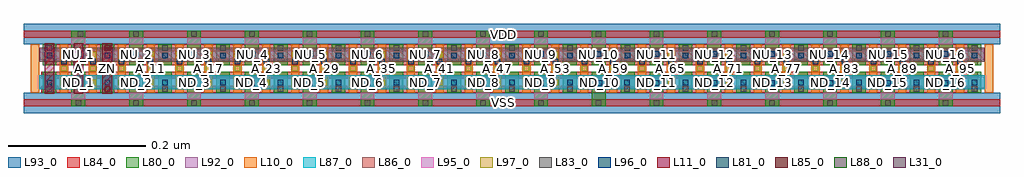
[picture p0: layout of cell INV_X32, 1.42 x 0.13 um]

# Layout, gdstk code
import gdstk
lib = gdstk.Library(unit=1e-6, precision=1e-09)
def R(c, l, rs):  # rectangles x0, y0, x1, y1
    for r in rs: c.add(gdstk.rectangle(r[:2], r[2:], *l))
def A(c, l, x, y, w, h, nx, ny, dx, dy):  # array of equal rectangles
    R(c, l, [(x+i*dx, y+j*dy, x+i*dx+w, y+j*dy+h) for i in range(nx) for j in range(ny)])
L10_0 = (10, 0)
L11_0 = (11, 0)
L31_0 = (31, 0)
L80_0 = (80, 0)
L81_0 = (81, 0)
L83_0 = (83, 0)
L84_0 = (84, 0)
L85_0 = (85, 0)
L86_0 = (86, 0)
L87_0 = (87, 0)
L88_0 = (88, 0)
L92_0 = (92, 0)
L93_0 = (93, 0)
L95_0 = (95, 0)
L96_0 = (96, 0)
L97_0 = (97, 0)

inv_x32 = lib.new_cell('INV_X32')
A(inv_x32, L10_0, 0.021, 0.07, 0.012, 0.07, 34, 1, 0.042, 0)
A(inv_x32, L11_0, 0.041, 0.068, 0.014, 0.074, 3, 1, 0.042, 0)
R(inv_x32, L31_0, [(0.086,0.101,0.094,0.109), (0.128,0.101,0.136,0.109)])
A(inv_x32, L80_0, 0.08, 0.05, 0.02, 0.05, 16, 2, 0.084, 0.06)
A(inv_x32, L80_0, 0.038, 0.07, 0.02, 0.03, 17, 2, 0.084, 0.04)
A(inv_x32, L81_0, 0.065, 0.111, 0.008, 0.008, 32, 1, 0.042, 0)
A(inv_x32, L83_0, 0.086, 0.051, 0.008, 0.008, 16, 1, 0.084, 0)
A(inv_x32, L83_0, 0.044, 0.071, 0.008, 0.008, 10, 1, 0.084, 0)
A(inv_x32, L83_0, 0.968, 0.071, 0.008, 0.008, 6, 1, 0.084, 0)
A(inv_x32, L83_0, 0.044, 0.131, 0.008, 0.008, 17, 1, 0.084, 0)
A(inv_x32, L83_0, 0.17, 0.151, 0.008, 0.008, 15, 1, 0.084, 0)
R(inv_x32, L83_0, [(0.883,0.071,0.891,0.079), (0.089,0.151,0.097,0.159)])
R(inv_x32, L84_0, [(0.011,0.05,1.429,0.06), (0.036,0.07,1.397,0.08), (0.036,0.09,1.397,0.1), (0.043,0.11,1.397,0.12), (0.043,0.13,1.397,0.14), (0.011,0.15,1.429,0.16)])
R(inv_x32, L85_0, [(0.128,0.071,0.136,0.079), (0.086,0.111,0.094,0.119), (0.128,0.131,0.136,0.139)])
R(inv_x32, L86_0, [(0.033,0.115,1.407,0.135)])
R(inv_x32, L87_0, [(0.033,0.075,1.407,0.095)])
R(inv_x32, L88_0, [(0.704,0.051,0.712,0.059), (0.704,0.151,0.712,0.159)])
R(inv_x32, L92_0, [(0.034,0.077,1.406,0.093), (0.034,0.117,1.406,0.133)])
R(inv_x32, L93_0, [(0.011,0.04,1.429,0.07), (0.011,0.14,1.429,0.17)])
A(inv_x32, L95_0, 0.08, 0.06, 0.02, 0.01, 9, 1, 0.084, 0)
A(inv_x32, L95_0, 0.92, 0.06, 0.02, 0.01, 6, 1, 0.084, 0)
A(inv_x32, L95_0, 0.08, 0.14, 0.02, 0.01, 16, 1, 0.084, 0)
A(inv_x32, L96_0, 0.254, 0.08, 0.008, 0.008, 7, 1, 0.084, 0)
A(inv_x32, L96_0, 0.926, 0.08, 0.008, 0.008, 3, 1, 0.084, 0)
A(inv_x32, L96_0, 0.044, 0.081, 0.008, 0.008, 10, 1, 0.084, 0)
A(inv_x32, L96_0, 0.968, 0.081, 0.008, 0.008, 6, 1, 0.084, 0)
A(inv_x32, L96_0, 0.044, 0.12, 0.008, 0.008, 17, 1, 0.084, 0)
A(inv_x32, L96_0, 0.086, 0.122, 0.008, 0.008, 3, 1, 0.084, 0)
A(inv_x32, L96_0, 0.506, 0.122, 0.008, 0.008, 9, 1, 0.084, 0)
R(inv_x32, L96_0, [(0.086,0.08,0.094,0.088), (0.171,0.08,0.179,0.088), (0.843,0.08,0.851,0.088), (1.179,0.08,1.187,0.088), (1.262,0.08,1.27,0.088), (1.346,0.08,1.354,0.088), (0.883,0.081,0.891,0.089), (0.339,0.122,0.347,0.13), (0.423,0.122,0.431,0.13), (1.263,0.122,1.271,0.13), (1.346,0.122,1.354,0.13)])
A(inv_x32, L97_0, 0.065, 0.081, 0.008, 0.008, 32, 3, 0.042, 0.02)
inv_x32.add(gdstk.Label('VSS', (0.708,0.055), layer=88, texttype=0))
inv_x32.add(gdstk.Label('VDD', (0.708,0.155), layer=88, texttype=0))
inv_x32.add(gdstk.Label('A', (0.09,0.105), layer=31, texttype=0))
inv_x32.add(gdstk.Label('ZN', (0.132,0.105), layer=31, texttype=0))
inv_x32.add(gdstk.Label('NU_1', (0.09,0.126), layer=96, texttype=0))
inv_x32.add(gdstk.Label('NU_2', (0.174,0.126), layer=96, texttype=0))
inv_x32.add(gdstk.Label('NU_3', (0.258,0.126), layer=96, texttype=0))
inv_x32.add(gdstk.Label('NU_4', (0.343,0.126), layer=96, texttype=0))
inv_x32.add(gdstk.Label('NU_5', (0.427,0.126), layer=96, texttype=0))
inv_x32.add(gdstk.Label('NU_6', (0.51,0.126), layer=96, texttype=0))
inv_x32.add(gdstk.Label('NU_7', (0.594,0.126), layer=96, texttype=0))
inv_x32.add(gdstk.Label('NU_8', (0.678,0.126), layer=96, texttype=0))
inv_x32.add(gdstk.Label('NU_9', (0.762,0.126), layer=96, texttype=0))
inv_x32.add(gdstk.Label('NU_10', (0.846,0.126), layer=96, texttype=0))
inv_x32.add(gdstk.Label('NU_11', (0.93,0.126), layer=96, texttype=0))
inv_x32.add(gdstk.Label('NU_12', (1.014,0.126), layer=96, texttype=0))
inv_x32.add(gdstk.Label('NU_13', (1.098,0.126), layer=96, texttype=0))
inv_x32.add(gdstk.Label('NU_14', (1.182,0.126), layer=96, texttype=0))
inv_x32.add(gdstk.Label('NU_15', (1.267,0.126), layer=96, texttype=0))
inv_x32.add(gdstk.Label('NU_16', (1.35,0.126), layer=96, texttype=0))
inv_x32.add(gdstk.Label('ND_1', (0.09,0.084), layer=96, texttype=0))
inv_x32.add(gdstk.Label('ND_2', (0.175,0.084), layer=96, texttype=0))
inv_x32.add(gdstk.Label('ND_3', (0.258,0.084), layer=96, texttype=0))
inv_x32.add(gdstk.Label('ND_4', (0.342,0.084), layer=96, texttype=0))
inv_x32.add(gdstk.Label('ND_5', (0.426,0.084), layer=96, texttype=0))
inv_x32.add(gdstk.Label('ND_6', (0.51,0.084), layer=96, texttype=0))
inv_x32.add(gdstk.Label('ND_7', (0.594,0.084), layer=96, texttype=0))
inv_x32.add(gdstk.Label('ND_8', (0.678,0.084), layer=96, texttype=0))
inv_x32.add(gdstk.Label('ND_9', (0.762,0.084), layer=96, texttype=0))
inv_x32.add(gdstk.Label('ND_10', (0.847,0.084), layer=96, texttype=0))
inv_x32.add(gdstk.Label('ND_11', (0.93,0.084), layer=96, texttype=0))
inv_x32.add(gdstk.Label('ND_12', (1.014,0.084), layer=96, texttype=0))
inv_x32.add(gdstk.Label('ND_13', (1.098,0.084), layer=96, texttype=0))
inv_x32.add(gdstk.Label('ND_14', (1.183,0.084), layer=96, texttype=0))
inv_x32.add(gdstk.Label('ND_15', (1.266,0.084), layer=96, texttype=0))
inv_x32.add(gdstk.Label('ND_16', (1.35,0.084), layer=96, texttype=0))
inv_x32.add(gdstk.Label('ZN_1', (0.048,0.124), layer=96, texttype=0))
inv_x32.add(gdstk.Label('ZN_3', (0.132,0.124), layer=96, texttype=0))
inv_x32.add(gdstk.Label('ZN_5', (0.216,0.124), layer=96, texttype=0))
inv_x32.add(gdstk.Label('ZN_7', (0.3,0.124), layer=96, texttype=0))
inv_x32.add(gdstk.Label('ZN_9', (0.384,0.124), layer=96, texttype=0))
inv_x32.add(gdstk.Label('ZN_11', (0.468,0.124), layer=96, texttype=0))
inv_x32.add(gdstk.Label('ZN_13', (0.552,0.124), layer=96, texttype=0))
inv_x32.add(gdstk.Label('ZN_15', (0.636,0.124), layer=96, texttype=0))
inv_x32.add(gdstk.Label('ZN_17', (0.72,0.124), layer=96, texttype=0))
inv_x32.add(gdstk.Label('ZN_19', (0.804,0.124), layer=96, texttype=0))
inv_x32.add(gdstk.Label('ZN_21', (0.888,0.124), layer=96, texttype=0))
inv_x32.add(gdstk.Label('ZN_23', (0.972,0.124), layer=96, texttype=0))
inv_x32.add(gdstk.Label('ZN_25', (1.056,0.124), layer=96, texttype=0))
inv_x32.add(gdstk.Label('ZN_27', (1.14,0.124), layer=96, texttype=0))
inv_x32.add(gdstk.Label('ZN_29', (1.224,0.124), layer=96, texttype=0))
inv_x32.add(gdstk.Label('ZN_31', (1.308,0.124), layer=96, texttype=0))
inv_x32.add(gdstk.Label('ZN_33', (1.392,0.124), layer=96, texttype=0))
inv_x32.add(gdstk.Label('ZN_34', (1.392,0.085), layer=96, texttype=0))
inv_x32.add(gdstk.Label('ZN_32', (1.308,0.085), layer=96, texttype=0))
inv_x32.add(gdstk.Label('ZN_30', (1.224,0.085), layer=96, texttype=0))
inv_x32.add(gdstk.Label('ZN_28', (1.14,0.085), layer=96, texttype=0))
inv_x32.add(gdstk.Label('ZN_26', (1.056,0.085), layer=96, texttype=0))
inv_x32.add(gdstk.Label('ZN_24', (0.972,0.085), layer=96, texttype=0))
inv_x32.add(gdstk.Label('ZN_22', (0.887,0.085), layer=96, texttype=0))
inv_x32.add(gdstk.Label('ZN_20', (0.804,0.085), layer=96, texttype=0))
inv_x32.add(gdstk.Label('ZN_18', (0.72,0.085), layer=96, texttype=0))
inv_x32.add(gdstk.Label('ZN_16', (0.636,0.085), layer=96, texttype=0))
inv_x32.add(gdstk.Label('ZN_14', (0.552,0.085), layer=96, texttype=0))
inv_x32.add(gdstk.Label('ZN_12', (0.468,0.085), layer=96, texttype=0))
inv_x32.add(gdstk.Label('ZN_10', (0.384,0.085), layer=96, texttype=0))
inv_x32.add(gdstk.Label('ZN_8', (0.3,0.085), layer=96, texttype=0))
inv_x32.add(gdstk.Label('ZN_6', (0.216,0.085), layer=96, texttype=0))
inv_x32.add(gdstk.Label('ZN_4', (0.132,0.085), layer=96, texttype=0))
inv_x32.add(gdstk.Label('ZN_2', (0.048,0.085), layer=96, texttype=0))
inv_x32.add(gdstk.Label('A_3', (0.069,0.085), layer=97, texttype=0))
inv_x32.add(gdstk.Label('A_2', (0.069,0.105), layer=97, texttype=0))
inv_x32.add(gdstk.Label('A_1', (0.069,0.125), layer=97, texttype=0))
inv_x32.add(gdstk.Label('A_6', (0.111,0.085), layer=97, texttype=0))
inv_x32.add(gdstk.Label('A_4', (0.111,0.125), layer=97, texttype=0))
inv_x32.add(gdstk.Label('A_5', (0.111,0.105), layer=97, texttype=0))
inv_x32.add(gdstk.Label('A_7', (0.153,0.125), layer=97, texttype=0))
inv_x32.add(gdstk.Label('A_8', (0.153,0.105), layer=97, texttype=0))
inv_x32.add(gdstk.Label('A_9', (0.153,0.085), layer=97, texttype=0))
inv_x32.add(gdstk.Label('A_11', (0.195,0.105), layer=97, texttype=0))
inv_x32.add(gdstk.Label('A_10', (0.195,0.125), layer=97, texttype=0))
inv_x32.add(gdstk.Label('A_12', (0.195,0.085), layer=97, texttype=0))
inv_x32.add(gdstk.Label('A_15', (0.237,0.085), layer=97, texttype=0))
inv_x32.add(gdstk.Label('A_14', (0.237,0.105), layer=97, texttype=0))
inv_x32.add(gdstk.Label('A_13', (0.237,0.125), layer=97, texttype=0))
inv_x32.add(gdstk.Label('A_18', (0.279,0.085), layer=97, texttype=0))
inv_x32.add(gdstk.Label('A_16', (0.279,0.125), layer=97, texttype=0))
inv_x32.add(gdstk.Label('A_17', (0.279,0.105), layer=97, texttype=0))
inv_x32.add(gdstk.Label('A_19', (0.321,0.125), layer=97, texttype=0))
inv_x32.add(gdstk.Label('A_20', (0.321,0.105), layer=97, texttype=0))
inv_x32.add(gdstk.Label('A_21', (0.321,0.085), layer=97, texttype=0))
inv_x32.add(gdstk.Label('A_23', (0.363,0.105), layer=97, texttype=0))
inv_x32.add(gdstk.Label('A_22', (0.363,0.125), layer=97, texttype=0))
inv_x32.add(gdstk.Label('A_24', (0.363,0.085), layer=97, texttype=0))
inv_x32.add(gdstk.Label('A_27', (0.405,0.085), layer=97, texttype=0))
inv_x32.add(gdstk.Label('A_26', (0.405,0.105), layer=97, texttype=0))
inv_x32.add(gdstk.Label('A_25', (0.405,0.125), layer=97, texttype=0))
inv_x32.add(gdstk.Label('A_30', (0.447,0.085), layer=97, texttype=0))
inv_x32.add(gdstk.Label('A_28', (0.447,0.125), layer=97, texttype=0))
inv_x32.add(gdstk.Label('A_29', (0.447,0.105), layer=97, texttype=0))
inv_x32.add(gdstk.Label('A_31', (0.489,0.125), layer=97, texttype=0))
inv_x32.add(gdstk.Label('A_32', (0.489,0.105), layer=97, texttype=0))
inv_x32.add(gdstk.Label('A_33', (0.489,0.085), layer=97, texttype=0))
inv_x32.add(gdstk.Label('A_35', (0.531,0.105), layer=97, texttype=0))
inv_x32.add(gdstk.Label('A_34', (0.531,0.125), layer=97, texttype=0))
inv_x32.add(gdstk.Label('A_36', (0.531,0.085), layer=97, texttype=0))
inv_x32.add(gdstk.Label('A_39', (0.573,0.085), layer=97, texttype=0))
inv_x32.add(gdstk.Label('A_38', (0.573,0.105), layer=97, texttype=0))
inv_x32.add(gdstk.Label('A_37', (0.573,0.125), layer=97, texttype=0))
inv_x32.add(gdstk.Label('A_42', (0.615,0.085), layer=97, texttype=0))
inv_x32.add(gdstk.Label('A_40', (0.615,0.125), layer=97, texttype=0))
inv_x32.add(gdstk.Label('A_41', (0.615,0.105), layer=97, texttype=0))
inv_x32.add(gdstk.Label('A_43', (0.657,0.125), layer=97, texttype=0))
inv_x32.add(gdstk.Label('A_44', (0.657,0.105), layer=97, texttype=0))
inv_x32.add(gdstk.Label('A_45', (0.657,0.085), layer=97, texttype=0))
inv_x32.add(gdstk.Label('A_47', (0.699,0.105), layer=97, texttype=0))
inv_x32.add(gdstk.Label('A_46', (0.699,0.125), layer=97, texttype=0))
inv_x32.add(gdstk.Label('A_48', (0.699,0.085), layer=97, texttype=0))
inv_x32.add(gdstk.Label('A_51', (0.741,0.085), layer=97, texttype=0))
inv_x32.add(gdstk.Label('A_50', (0.741,0.105), layer=97, texttype=0))
inv_x32.add(gdstk.Label('A_49', (0.741,0.125), layer=97, texttype=0))
inv_x32.add(gdstk.Label('A_54', (0.783,0.085), layer=97, texttype=0))
inv_x32.add(gdstk.Label('A_52', (0.783,0.125), layer=97, texttype=0))
inv_x32.add(gdstk.Label('A_53', (0.783,0.105), layer=97, texttype=0))
inv_x32.add(gdstk.Label('A_55', (0.825,0.125), layer=97, texttype=0))
inv_x32.add(gdstk.Label('A_56', (0.825,0.105), layer=97, texttype=0))
inv_x32.add(gdstk.Label('A_57', (0.825,0.085), layer=97, texttype=0))
inv_x32.add(gdstk.Label('A_59', (0.867,0.105), layer=97, texttype=0))
inv_x32.add(gdstk.Label('A_58', (0.867,0.125), layer=97, texttype=0))
inv_x32.add(gdstk.Label('A_60', (0.867,0.085), layer=97, texttype=0))
inv_x32.add(gdstk.Label('A_63', (0.909,0.085), layer=97, texttype=0))
inv_x32.add(gdstk.Label('A_62', (0.909,0.105), layer=97, texttype=0))
inv_x32.add(gdstk.Label('A_61', (0.909,0.125), layer=97, texttype=0))
inv_x32.add(gdstk.Label('A_66', (0.951,0.085), layer=97, texttype=0))
inv_x32.add(gdstk.Label('A_64', (0.951,0.125), layer=97, texttype=0))
inv_x32.add(gdstk.Label('A_65', (0.951,0.105), layer=97, texttype=0))
inv_x32.add(gdstk.Label('A_67', (0.993,0.125), layer=97, texttype=0))
inv_x32.add(gdstk.Label('A_68', (0.993,0.105), layer=97, texttype=0))
inv_x32.add(gdstk.Label('A_69', (0.993,0.085), layer=97, texttype=0))
inv_x32.add(gdstk.Label('A_71', (1.035,0.105), layer=97, texttype=0))
inv_x32.add(gdstk.Label('A_70', (1.035,0.125), layer=97, texttype=0))
inv_x32.add(gdstk.Label('A_72', (1.035,0.085), layer=97, texttype=0))
inv_x32.add(gdstk.Label('A_75', (1.077,0.085), layer=97, texttype=0))
inv_x32.add(gdstk.Label('A_74', (1.077,0.105), layer=97, texttype=0))
inv_x32.add(gdstk.Label('A_73', (1.077,0.125), layer=97, texttype=0))
inv_x32.add(gdstk.Label('A_78', (1.119,0.085), layer=97, texttype=0))
inv_x32.add(gdstk.Label('A_76', (1.119,0.125), layer=97, texttype=0))
inv_x32.add(gdstk.Label('A_77', (1.119,0.105), layer=97, texttype=0))
inv_x32.add(gdstk.Label('A_79', (1.161,0.125), layer=97, texttype=0))
inv_x32.add(gdstk.Label('A_80', (1.161,0.105), layer=97, texttype=0))
inv_x32.add(gdstk.Label('A_81', (1.161,0.085), layer=97, texttype=0))
inv_x32.add(gdstk.Label('A_83', (1.203,0.105), layer=97, texttype=0))
inv_x32.add(gdstk.Label('A_82', (1.203,0.125), layer=97, texttype=0))
inv_x32.add(gdstk.Label('A_84', (1.203,0.085), layer=97, texttype=0))
inv_x32.add(gdstk.Label('A_87', (1.245,0.085), layer=97, texttype=0))
inv_x32.add(gdstk.Label('A_86', (1.245,0.105), layer=97, texttype=0))
inv_x32.add(gdstk.Label('A_85', (1.245,0.125), layer=97, texttype=0))
inv_x32.add(gdstk.Label('A_90', (1.287,0.085), layer=97, texttype=0))
inv_x32.add(gdstk.Label('A_88', (1.287,0.125), layer=97, texttype=0))
inv_x32.add(gdstk.Label('A_89', (1.287,0.105), layer=97, texttype=0))
inv_x32.add(gdstk.Label('A_91', (1.329,0.125), layer=97, texttype=0))
inv_x32.add(gdstk.Label('A_92', (1.329,0.105), layer=97, texttype=0))
inv_x32.add(gdstk.Label('A_93', (1.329,0.085), layer=97, texttype=0))
inv_x32.add(gdstk.Label('A_95', (1.371,0.105), layer=97, texttype=0))
inv_x32.add(gdstk.Label('A_94', (1.371,0.125), layer=97, texttype=0))
inv_x32.add(gdstk.Label('A_96', (1.371,0.085), layer=97, texttype=0))

lib.write_gds('INV_X32.gds')
